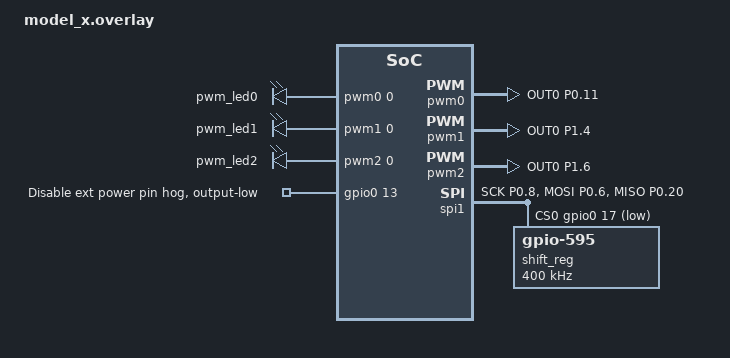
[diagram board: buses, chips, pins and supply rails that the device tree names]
#include <dt-bindings/zmk/matrix_transform.h>
#include <dt-bindings/led/led.h>
#include <physical_layouts.dtsi>
#include "model_x_ansi101.dts"
#include "model_x_iso102.dts"
#include "model_x_iso122.dts"


// Position mapping made with this tool-> https://zmk-layout-helper.netlify.app/

/ {
  position_map {
    compatible = "zmk,physical-layout-position-map";

    complete;

    iso122_ph_layout {
      physical-layout = <&iso122_ph_layout>;
      positions
        = <  0  12  13  14  15  16  17  18  19  20  21  22  23>
        , <  9  10  11  26  27  28  29  30  31  32  33  34  35>
        , < 36  37  38  39  40  41  42  43  44  45  46   1   2>
        , <  3   4   5   6   7   8  89 106  24  25  47  48  69>
        , < 70  90  91 112 113  84  83  93  49  50  51  52  53>
        , < 54  55  56  57  58  59  60  61  62  63  64  65  66>
        , < 67  68  71  72  73  74  75  76  77  78  79  80  81>
        , < 82  86  87  88  92  94  95  96  97  98  99 100 101>
        , <102 103 104  85 108 109 110 111 114 115 116 117 118>
        , <105 119 107 120 121>
        ;
    };

    iso102_ph_layout {
      physical-layout = <&iso102_ph_layout>;
      positions
        = <  0   1   2   3   4   5   6   7   8   9  10  11  12>
        , < 13  14  15  16  17  18  19  20  21  22  23  24  25>
        , < 26  27  28  29  30  31  32  33  34  35  36 104 105>
        , <106 107 108 109 110 111 112 113 114 115 116 117 118>
        , <119 120 121 102 103  70  69  75  37  38  39  40  41>
        , < 42  43  44  45  46  47  48  49  50  51  52  53  54>
        , < 55  56  57  58  59  60  61  62  63  64  65  66  67>
        , < 68  71  72  73  74  76  77  78  79  80  81  82  83>
        , < 84  85  86  87  88  89  90  91  92  93  94  95  96>
        , < 97  98  99 100 101>
        ;
    };

    ansi101_ph_layout {
      physical-layout = <&ansi101_ph_layout>;
      positions
        = <  0   1   2   3   4   5   6   7   8   9  10  11  12>
        , < 13  14  15  16  17  18  19  20  21  22  23  24  25>
        , < 26  27  28  29  30  31  32  33  34  35  36 104 105>
        , <106 107 108 109 110 111 112 113 114 115 116 117 118>
        , <119 120 121 102 103  70  50 101  37  38  39  40  41>
        , < 42  43  44  45  46  47  48  49  51  52  53  54  55>
        , < 56  57  58  59  60  61  62  63  64  65  66  67  68>
        , < 69  71  72  73  74  75  76  77  78  79  80  81  82>
        , < 83  84  85  86  87  88  89  90  91  92  93  94  95>
        , < 96  97  98  99 100>
        ;
    };
  };
};

&pinctrl {
    spi1_default: spi1_default {
        group1 {
            psels = <NRF_PSEL(SPIM_SCK, 0, 8)>,
                <NRF_PSEL(SPIM_MOSI, 0, 6)>,
                <NRF_PSEL(SPIM_MISO, 0, 20)>;
        };
    };

    spi1_sleep: spi1_sleep {
        group1 {
            psels = <NRF_PSEL(SPIM_SCK, 0, 8)>,
                <NRF_PSEL(SPIM_MOSI, 0, 6)>,
                <NRF_PSEL(SPIM_MISO, 0, 20)>;
            low-power-enable;
        };
    };
	
	pwm0_default: pwm0_default {
        group1 {
            psels = <NRF_PSEL(PWM_OUT0, 0, 11)>;
        };
    };
	
    pwm0_sleep: pwm0_sleep {
        group1 {
            psels = <NRF_PSEL(PWM_OUT0, 0, 11)>;
            low-power-enable;
        };
    };

	pwm1_default: pwm1_default {
        group1 {
            psels = <NRF_PSEL(PWM_OUT0, 1, 4)>;
        };
    };
	
    pwm1_sleep: pwm1_sleep {
        group1 {
            psels = <NRF_PSEL(PWM_OUT0, 1, 4)>;
            low-power-enable;
        };
    };
	
	pwm2_default: pwm2_default {
        group1 {
            psels = <NRF_PSEL(PWM_OUT0, 1, 6)>;
        };
    };
	
    pwm2_sleep: pwm2_sleep {
        group1 {
            psels = <NRF_PSEL(PWM_OUT0, 1, 6)>;
            low-power-enable;
        };
    };

};

&pwm0 {
    status = "okay";
    pinctrl-0 = <&pwm0_default>;
    pinctrl-1 = <&pwm0_sleep>;
    pinctrl-names = "default", "sleep";
};

&pwm1 {
    status = "okay";
    pinctrl-0 = <&pwm1_default>;
    pinctrl-1 = <&pwm1_sleep>;
    pinctrl-names = "default", "sleep";
};

&pwm2 {
    status = "okay";
    pinctrl-0 = <&pwm2_default>;
    pinctrl-1 = <&pwm2_sleep>;
    pinctrl-names = "default", "sleep";
};

&gpio0 {
    extpwr_pull: extpwr_pull {
        gpio-hog;
        gpios = <13 GPIO_ACTIVE_HIGH>;  // might need to swap this or the next, not sure
        output-low;
        line-name = "Disable ext power pin";
    };
};

&spi1 {
    // Enable the SPI interface and configure the CS (Chip Select) pin
    status = "okay";
    pinctrl-0 = <&spi1_default>; // Default pin configuration
    pinctrl-1 = <&spi1_sleep>;   // Low power pin configuration
    pinctrl-names = "default", "sleep"; // Names of the pin configurations
    //wakeup-source; 
    cs-gpios = <&gpio0 17 GPIO_ACTIVE_LOW>; // Pin 0.17 for CS (Chip Select), active low

    shift_reg: 595@0 {
        // Configure the 74HC595 shift register
        compatible = "zmk,gpio-595"; // Specify the compatible device
        status = "okay";
        //wakeup-source; 
        gpio-controller;
        spi-max-frequency = <400000>; // Maximum SPI frequency (4 MHz)
        #gpio-cells = <2>;
        reg = <0>; // SPI device address
        #gpio-cells = <2>;
        ngpios = <16>;
    };

};

/ {
    //chosen {
    //    zmk,physical-layout = &iso102_ph_layout;
    //};
    
    aliases {
		pwm-led-numlock = &pwm_led0;
        pwm-led-capslock = &pwm_led1;
        pwm-led-scrolllock = &pwm_led2;
    };

	pwmleds {
		compatible = "pwm-leds";
		pwm_led0: pwm_led_0 {
			pwms = <&pwm0 0 10000 PWM_POLARITY_INVERTED>;
		};

		pwm_led1: pwm_led_1 {
			pwms = <&pwm1 0 10000 PWM_POLARITY_INVERTED>;
		};

		pwm_led2: pwm_led_2 {
			pwms = <&pwm2 0 10000 PWM_POLARITY_INVERTED>;
		};
	};

};
